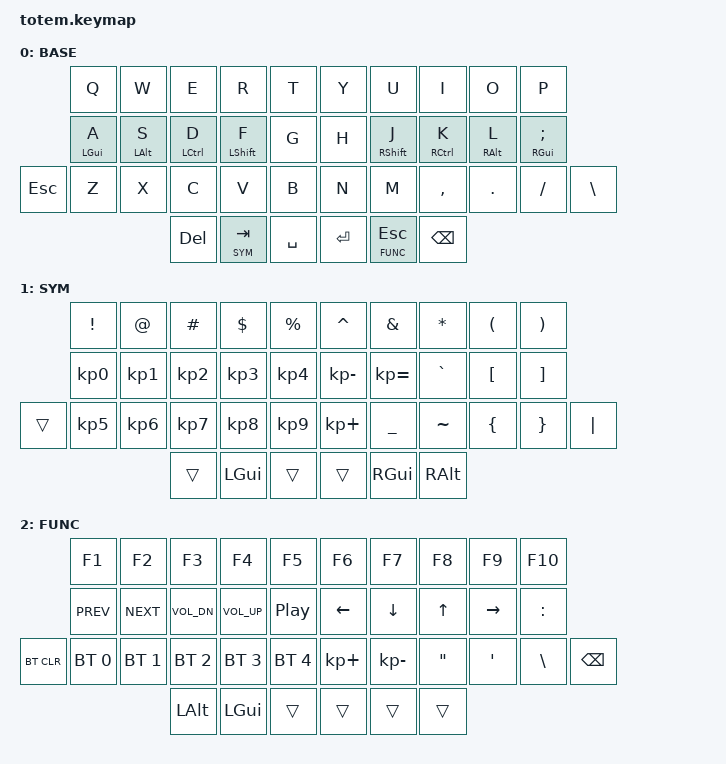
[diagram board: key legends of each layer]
//
//                                                        ▀▀▀▀▀     ▀▀▀▀▀          ▀▀█▀▀
//                                                        ▄▀▀▀▄  ▄  ▄▀▀▀▄  ▄  ▄▀▀▀▄  █  ▄▀▀▀▄
//                                                        █   █  █  █   █  █  █   █  █  █   █
//                                                         ▀▀▀   █   ▀▀▀   █   ▀▀▀   ▀   ▀▀▀
//                                                               █      ▄▄▄█▄▄▄    █   █
//                                                               ▀      █  █  █     █▄█
//                                                             ▀▀▀▀▀    █  █  █      ▀
//                                                                      ▀  ▀  ▀
//
// ▄▄▄▄▄▄▄▄▄▄▄▄▄▄▄▄▄▄▄▄▄▄▄▄▄▄▄▄▄▄▄▄▄▄▄▄▄▄▄▄▄▄▄▄▄▄▄▄▄▄▄▄▄▄▄▄▄▄▄▄▄▄▄▄▄▄▄▄▄▄▄▄▄▄▄▄▄▄▄▄▄▄▄▄▄▄▄▄▄▄▄▄▄▄▄▄▄▄▄▄▄▄▄▄▄▄▄▄▄▄▄▄▄▄▄▄▄▄▄▄▄▄▄▄▄▄▄▄▄▄▄▄▄▄▄▄▄▄▄▄▄▄▄▄▄▄▄▄▄


#include <behaviors.dtsi>
#include <dt-bindings/zmk/keys.h>
#include <dt-bindings/zmk/bt.h>
#include <dt-bindings/zmk/outputs.h>

#define BASE 0
#define SYM  1
#define FUNC 2

&mt {
  quick-tap-ms = <100>;
  global-quick-tap;
  flavor = "tap-preferred";
  tapping-term-ms = <170>;
};

/ {
        combos {
                compatible = "zmk,combos";
                combo_esc {
                    timeout-ms = <50>;
                    key-positions = <0 1>;
                    bindings = <&kp ESC>;
                };
                combo_tvp {
                    timeout-ms = <100>;
                    key-positions = <11 12 13>;
                    bindings = <&tog TVP1>;
                };
        };

        macros {
            gif: gif {
                label = "giphy";
                compatible = "zmk,behavior-macro";
                #binding-cells = <0>;
                bindings
                    = <&macro_press &kp LSHFT>
                    , <&macro_tap &kp N2>
                    , <&macro_release &kp LSHFT>
                    , <&macro_tap &kp G &kp I &kp F>
                    ;
            };
        };

        keymap {
                compatible = "zmk,keymap";
// ▄▄▄▄▄▄▄▄▄▄▄▄▄▄▄▄▄▄▄▄▄▄▄▄▄▄▄▄▄▄▄▄▄▄▄▄▄▄▄▄▄▄▄▄▄▄▄▄▄▄▄▄▄▄▄▄▄▄▄▄▄▄▄▄▄▄▄▄▄▄▄▄▄▄▄▄▄▄▄▄▄▄▄▄▄▄▄▄▄▄▄▄▄▄▄▄▄▄▄▄▄▄▄▄▄▄▄▄▄▄▄▄▄▄▄▄▄▄▄▄▄▄▄▄▄▄▄▄▄▄▄▄▄▄▄▄▄▄▄▄▄▄▄▄▄▄▄▄▄

                base_layer {
// ┏━━━━━━━━━━━━━━━━━━━━━━━━━━━━━━━━━━━━━━━┓
label= "BASE"                              ;
// ┗━━━━━━━━━━━━━━━━━━━━━━━━━━━━━━━━━━━━━━━┛
// Layer 1
//             ┏━━━━━━━━━━━┳━━━━━━━━━━━┳━━━━━━━━━━━┳━━━━━━━━━━━┳━━━━━━━━━━━┓   ┏━━━━━━━━━━━┳━━━━━━━━━━━┳━━━━━━━━━━━┳━━━━━━━━━━━┳━━━━━━━━━━━┓
//             ┃     Q     ┃     W     ┃     E     ┃     R     ┃     T     ┃   ┃     Y     ┃     U     ┃     I     ┃     O     ┃     P     ┃
//             ┣━━━━━━━━━━━╋━━━━━━━━━━━╋━━━━━━━━━━━╋━━━━━━━━━━━╋━━━━━━━━━━━┫   ┣━━━━━━━━━━━╋━━━━━━━━━━━╋━━━━━━━━━━━╋━━━━━━━━━━━╋━━━━━━━━━━━┫
//             ┃     A     ┃     S     ┃     D     ┃     F     ┃     G     ┃   ┃     H     ┃     J     ┃     K     ┃     L     ┃     ;     ┃
// ┏━━━━━━━━━━━╋━━━━━━━━━━━╋━━━━━━━━━━━╋━━━━━━━━━━━╋━━━━━━━━━━━╋━━━━━━━━━━━┫   ┣━━━━━━━━━━━╋━━━━━━━━━━━╋━━━━━━━━━━━╋━━━━━━━━━━━╋━━━━━━━━━━━╋━━━━━━━━━━━┓
// ┃    ESC    ┃     Z     ┃     X     ┃     C     ┃     V     ┃     B     ┃   ┃     N     ┃     M     ┃     ,     ┃     .     ┃     /     ┃     \     ┃
// ┗━━━━━━━━━━━┻━━━━━━━━━━━┻━━━━━━━━━━━╋━━━━━━━━━━━╋━━━━━━━━━━━╋━━━━━━━━━━━┫   ┣━━━━━━━━━━━╋━━━━━━━━━━━╋━━━━━━━━━━━╋━━━━━━━━━━━┻━━━━━━━━━━━┻━━━━━━━━━━━┛
//                                     ┃    DEL    ┃    TAB    ┃   SPACE   ┃   ┃   ENTER   ┃    ESC    ┃   BSPC    ┃
//                                     ┗━━━━━━━━━━━┻━━━━━━━━━━━┻━━━━━━━━━━━┛   ┗━━━━━━━━━━━┻━━━━━━━━━━━┻━━━━━━━━━━━┛
 bindings = <
// ╷           ╷           ╷           ╷           ╷           ╷           ╷   ╷           ╷           ╷           ╷           ╷           ╷           ╷

                &kp Q       &kp W       &kp E       &kp R       &kp T           &kp Y       &kp U       &kp I       &kp O       &kp P
                &mt LGUI A  &mt LALT S  &mt LCTRL D &mt LSHFT F &kp G           &kp H       &mt RSHFT J &mt RCTRL K &mt RALT L  &mt RGUI SEMI
    &kp ESC     &kp Z       &kp X       &kp C       &kp V       &kp B           &kp N       &kp M       &kp COMMA   &kp DOT     &kp FSLH    &kp BSLH
                                        &kp DEL     &lt SYM TAB   &kp SPACE     &kp RET     &lt FUNC ESC   &kp BSPC
                        >;
                };

// ▄▄▄▄▄▄▄▄▄▄▄▄▄▄▄▄▄▄▄▄▄▄▄▄▄▄▄▄▄▄▄▄▄▄▄▄▄▄▄▄▄▄▄▄▄▄▄▄▄▄▄▄▄▄▄▄▄▄▄▄▄▄▄▄▄▄▄▄▄▄▄▄▄▄▄▄▄▄▄▄▄▄▄▄▄▄▄▄▄▄▄▄▄▄▄▄▄▄▄▄▄▄▄▄▄▄▄▄▄▄▄▄▄▄▄▄▄▄▄▄▄▄▄▄▄▄▄▄▄▄▄▄▄▄▄▄▄▄▄▄▄▄▄▄▄▄▄▄▄

// ▄▄▄▄▄▄▄▄▄▄▄▄▄▄▄▄▄▄▄▄▄▄▄▄▄▄▄▄▄▄▄▄▄▄▄▄▄▄▄▄▄▄▄▄▄▄▄▄▄▄▄▄▄▄▄▄▄▄▄▄▄▄▄▄▄▄▄▄▄▄▄▄▄▄▄▄▄▄▄▄▄▄▄▄▄▄▄▄▄▄▄▄▄▄▄▄▄▄▄▄▄▄▄▄▄▄▄▄▄▄▄▄▄▄▄▄▄▄▄▄▄▄▄▄▄▄▄▄▄▄▄▄▄▄▄▄▄▄▄▄▄▄▄▄▄▄▄▄▄


                sym_layer {
// ┏━━━━━━━━━━━━━━━━━━━━━━━━━━━━━━━━━━━━━━━┓
label= "SYM"                               ;
// ┗━━━━━━━━━━━━━━━━━━━━━━━━━━━━━━━━━━━━━━━┛
// Layer 2
//             ┏━━━━━━━━━━━┳━━━━━━━━━━━┳━━━━━━━━━━━┳━━━━━━━━━━━┳━━━━━━━━━━━┓   ┏━━━━━━━━━━━┳━━━━━━━━━━━┳━━━━━━━━━━━┳━━━━━━━━━━━┳━━━━━━━━━━━┓
//             ┃     !     ┃     @     ┃     #     ┃     $     ┃     %     ┃   ┃     ˆ     ┃     &     ┃     *     ┃     (     ┃     )     ┃
//             ┣━━━━━━━━━━━╋━━━━━━━━━━━╋━━━━━━━━━━━╋━━━━━━━━━━━╋━━━━━━━━━━━┫   ┣━━━━━━━━━━━╋━━━━━━━━━━━╋━━━━━━━━━━━╋━━━━━━━━━━━╋━━━━━━━━━━━┫
//             ┃     0     ┃     1     ┃     2     ┃     3     ┃     4     ┃   ┃     -     ┃     =     ┃     `     ┃     [     ┃     ]     ┃
// ┏━━━━━━━━━━━╋━━━━━━━━━━━╋━━━━━━━━━━━╋━━━━━━━━━━━╋━━━━━━━━━━━╋━━━━━━━━━━━┫   ┣━━━━━━━━━━━╋━━━━━━━━━━━╋━━━━━━━━━━━╋━━━━━━━━━━━╋━━━━━━━━━━━╋━━━━━━━━━━━┓
// ┃           ┃     5     ┃     6     ┃     7     ┃     8     ┃     9     ┃   ┃     +     ┃     _     ┃     ~     ┃     {     ┃     }     ┃     |     ┃
// ┗━━━━━━━━━━━┻━━━━━━━━━━━┻━━━━━━━━━━━╋━━━━━━━━━━━╋━━━━━━━━━━━╋━━━━━━━━━━━┫   ┣━━━━━━━━━━━╋━━━━━━━━━━━╋━━━━━━━━━━━╋━━━━━━━━━━━┻━━━━━━━━━━━┻━━━━━━━━━━━┛
//                                     ┃           ┃    LCMD   ┃           ┃   ┃           ┃    RCMD   ┃    RALT   ┃
//                                     ┗━━━━━━━━━━━┻━━━━━━━━━━━┻━━━━━━━━━━━┛   ┗━━━━━━━━━━━┻━━━━━━━━━━━┻━━━━━━━━━━━┛
 bindings = <
// ╷           ╷           ╷           ╷           ╷           ╷           ╷   ╷               ╷               ╷           ╷               ╷           ╷           ╷

                &kp EXCL    &kp AT      &kp HASH    &kp DLLR    &kp PRCNT       &kp CARET       &kp AMPS        &kp ASTRK   &kp LPAR        &kp RPAR
                &kp KP_N0   &kp KP_N1   &kp KP_N2   &kp KP_N3   &kp KP_N4       &kp KP_MINUS    &kp KP_EQUAL    &kp GRAVE   &kp LBKT        &kp RBKT
    &trans      &kp KP_N5   &kp KP_N6   &kp KP_N7   &kp KP_N8   &kp KP_N9       &kp KP_PLUS     &kp UNDER       &kp TILDE   &kp LBRC        &kp RBRC    &kp PIPE
                                        &trans      &kp LGUI    &trans          &trans          &kp RGUI        &kp RALT
                        >;
                };


// ▄▄▄▄▄▄▄▄▄▄▄▄▄▄▄▄▄▄▄▄▄▄▄▄▄▄▄▄▄▄▄▄▄▄▄▄▄▄▄▄▄▄▄▄▄▄▄▄▄▄▄▄▄▄▄▄▄▄▄▄▄▄▄▄▄▄▄▄▄▄▄▄▄▄▄▄▄▄▄▄▄▄▄▄▄▄▄▄▄▄▄▄▄▄▄▄▄▄▄▄▄▄▄▄▄▄▄▄▄▄▄▄▄▄▄▄▄▄▄▄▄▄▄▄▄▄▄▄▄▄▄▄▄▄▄▄▄▄▄▄▄▄▄▄▄▄▄▄▄


                func_layer {
// ┏━━━━━━━━━━━━━━━━━━━━━━━━━━━━━━━━━━━━━━━┓
label= "FUNC"                              ;
// ┗━━━━━━━━━━━━━━━━━━━━━━━━━━━━━━━━━━━━━━━┛
// Layer 3
//             ┏━━━━━━━━━━━┳━━━━━━━━━━━┳━━━━━━━━━━━┳━━━━━━━━━━━┳━━━━━━━━━━━┓                ┏━━━━━━━━━━━┳━━━━━━━━━━━┳━━━━━━━━━━━┳━━━━━━━━━━━┳━━━━━━━━━━━┓
//             ┃    F1     ┃    F2     ┃     F3    ┃    F4     ┃    F5     ┃                ┃    F6     ┃    F7     ┃    F8     ┃    F9     ┃    F10    ┃
//             ┣━━━━━━━━━━━╋━━━━━━━━━━━╋━━━━━━━━━━━╋━━━━━━━━━━━╋━━━━━━━━━━━┫                ┣━━━━━━━━━━━╋━━━━━━━━━━━╋━━━━━━━━━━━╋━━━━━━━━━━━╋━━━━━━━━━━━┫
//             ┃   Prev    ┃   Next    ┃   Vol -   ┃   Vol +   ┃ Play/Pause┃                ┃   LEFT    ┃   DOWN    ┃    UP     ┃   RIGHT   ┃     :     ┃
// ┏━━━━━━━━━━━╋━━━━━━━━━━━╋━━━━━━━━━━━╋━━━━━━━━━━━╋━━━━━━━━━━━╋━━━━━━━━━━━┫                ┣━━━━━━━━━━━╋━━━━━━━━━━━╋━━━━━━━━━━━╋━━━━━━━━━━━╋━━━━━━━━━━━╋━━━━━━━━━━━┓
// ┃ BT Clr All┃    BT 0   ┃   BT 1    ┃    BT 2   ┃    BT 3   ┃    BT 4   ┃                ┃     +     ┃     -     ┃     "     ┃     '     ┃     \     ┃   BSPC    ┃
// ┗━━━━━━━━━━━┻━━━━━━━━━━━┻━━━━━━━━━━━╋━━━━━━━━━━━╋━━━━━━━━━━━╋━━━━━━━━━━━┫                ┣━━━━━━━━━━━╋━━━━━━━━━━━╋━━━━━━━━━━━╋━━━━━━━━━━━┻━━━━━━━━━━━┻━━━━━━━━━━━┛
//                                     ┃   LALT    ┃   LCMD    ┃           ┃                ┃           ┃           ┃           ┃
//                                     ┗━━━━━━━━━━━┻━━━━━━━━━━━┻━━━━━━━━━━━┛                ┗━━━━━━━━━━━┻━━━━━━━━━━━┻━━━━━━━━━━━┛
 bindings = <
// ╷           ╷             ╷             ╷              ╷              ╷            ╷     ╷               ╷             ╷           ╷           ╷           ╷           ╷

                &kp F1        &kp F2        &kp F3         &kp F4         &kp F5             &kp F6         &kp F7         &kp F8      &kp F9      &kp F10
                &kp C_PREV    &kp C_NEXT    &kp C_VOL_DN   &kp C_VOL_UP   &kp C_PP           &kp LEFT       &kp DOWN       &kp UP      &kp RIGHT   &kp COLON
    &bt BT_CLR  &bt BT_SEL 0  &bt BT_SEL 1  &bt BT_SEL 2   &bt BT_SEL 3   &bt BT_SEL 4       &kp KP_PLUS    &kp KP_MINUS   &kp DQT     &kp APOS    &kp BSLH     &kp BSPC
                                            &kp LALT       &kp LGUI       &trans             &trans         &trans         &trans
                        >;
                };
        };
};
